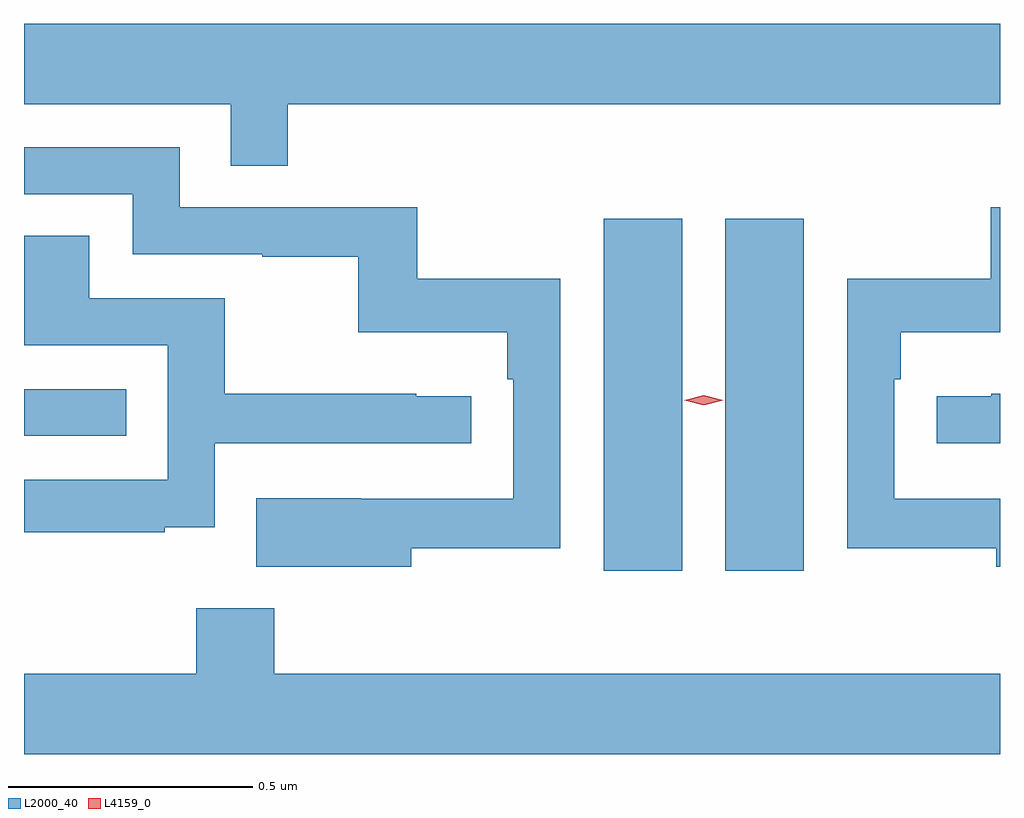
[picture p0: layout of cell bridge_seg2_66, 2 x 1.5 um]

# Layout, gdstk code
import gdstk
lib = gdstk.Library(unit=1e-6, precision=1e-09)
def R(c, l, rs):  # rectangles x0, y0, x1, y1
    for r in rs: c.add(gdstk.rectangle(r[:2], r[2:], *l))
def P(c, l, *ps):  # polygons
    for p in ps: c.add(gdstk.Polygon(p, *l))
L2000_40 = (2000, 40)
L4159_0 = (4159, 0)

bridge_seg2_66 = lib.new_cell('bridge_seg2_66')
R(bridge_seg2_66, L2000_40, [(936.779,585.408,936.94,586.129), (937.028,585.408,937.189,586.129), (935.591,585.684,935.801,585.78)])
P(bridge_seg2_66, L2000_40, [(936.131,586.364),(937.591,586.364),(937.591,586.528),(935.591,586.528),(935.591,586.364),(936.015,586.364),(936.015,586.237),(936.131,586.237)],
  [(936.385,585.454),(936.69,585.454),(936.69,586.006),(936.397,586.006),(936.397,586.152),(935.91,586.152),(935.91,586.275),(935.591,586.275),(935.591,586.179),(935.814,586.179),(935.814,586.056),(936.079,586.056),(936.079,586.051),(936.276,586.051),(936.276,585.896),(936.581,585.896),(936.581,585.8),(936.594,585.8),(936.594,585.555),(936.281,585.555),(936.281,585.556),(936.067,585.556),(936.067,585.416),(936.385,585.416)],
  [(937.591,585.555),(937.374,585.555),(937.374,585.8),(937.388,585.8),(937.388,585.896),(937.591,585.896),(937.591,586.152),(937.572,586.152),(937.572,586.006),(937.278,586.006),(937.278,585.454),(937.583,585.454),(937.583,585.416),(937.591,585.416)],
  [(935.879,585.497),(935.982,585.497),(935.982,585.669),(936.508,585.669),(936.508,585.765),(936.395,585.765),(936.395,585.77),(936.002,585.77),(936.002,585.966),(935.725,585.966),(935.725,586.094),(935.591,586.094),(935.591,585.87),(935.886,585.87),(935.886,585.594),(935.591,585.594),(935.591,585.486),(935.879,585.486)],
  [(937.591,585.77),(937.573,585.77),(937.573,585.765),(937.461,585.765),(937.461,585.669),(937.591,585.669)],
  [(937.591,585.196),(936.104,585.196),(936.104,585.331),(935.944,585.331),(935.944,585.196),(935.591,585.196),(935.591,585.032),(937.591,585.032)])
P(bridge_seg2_66, L4159_0, [(936.984,585.747),(936.944,585.757),(936.944,585.757),(936.944,585.757),(936.984,585.767),(937.024,585.757),(937.024,585.757),(937.024,585.757)])

lib.write_gds('bridge_seg2_66.gds')
